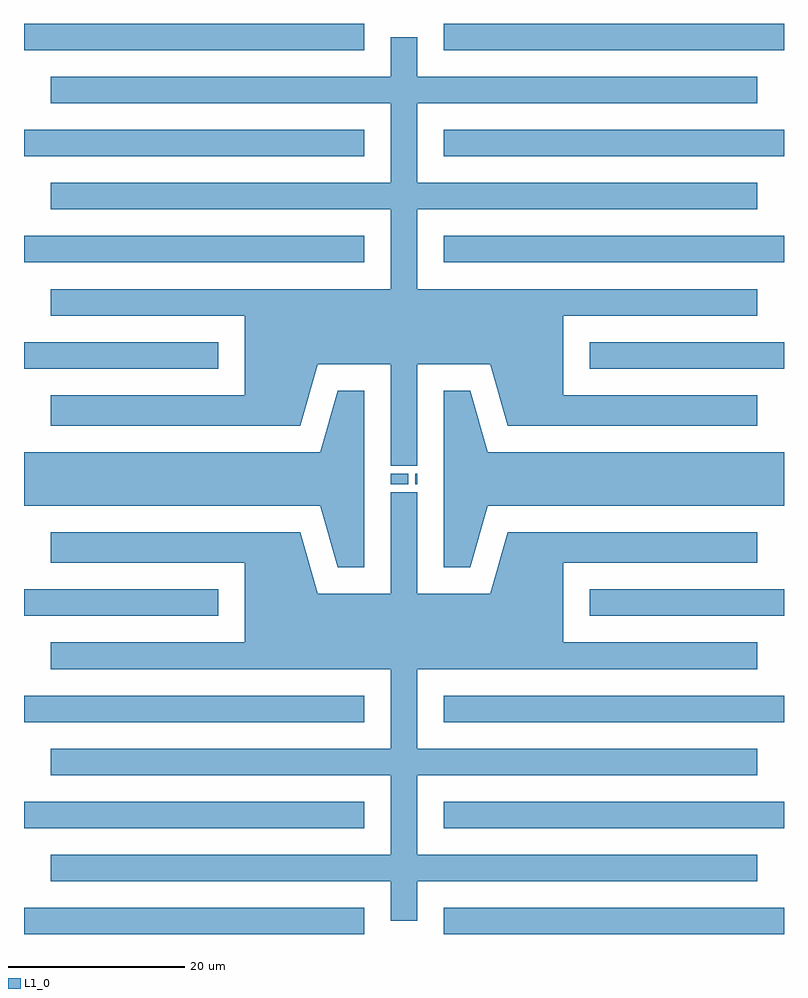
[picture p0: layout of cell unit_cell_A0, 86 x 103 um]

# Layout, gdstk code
from math import pi, radians
import gdstk
lib = gdstk.Library(unit=1e-6, precision=1e-09)
def R(c, l, rs):  # rectangles x0, y0, x1, y1
    for r in rs: c.add(gdstk.rectangle(r[:2], r[2:], *l))
def P(c, l, *ps):  # polygons
    for p in ps: c.add(gdstk.Polygon(p, *l))
L1_0 = (1, 0)

unnamed_361 = lib.new_cell('Unnamed_361')
P(unnamed_361, L1_0, [(38.5,0),(38.5,4.5),(0,4.5),(0,7.5),(38.5,7.5),(38.5,16.5),(0,16.5),(0,19.5),(38.5,19.5),(38.5,28.5),(0,28.5),(0,31.5),(22,31.5),(22,40.5),(0,40.5),(0,44),(28.237,44),(30.237,37),(38.5,37),(38.5,48.5),(40,48.5),(40,0)])

straight_l38p5_n2_csxs_e = lib.new_cell('straight_L38p5_N2_CSxs_e9659eb0')
R(straight_l38p5_n2_csxs_e, L1_0, [(0,-1.5,38.5,1.5)])

straight_array_n3_s9_l3_ = lib.new_cell('straight_array_N3_S9_L3_b91b2c6a')
straight_array_n3_s9_l3_.add(gdstk.Reference(straight_l38p5_n2_csxs_e, (0,0)))
straight_array_n3_s9_l3_.add(gdstk.Reference(straight_l38p5_n2_csxs_e, (0,12)))
straight_array_n3_s9_l3_.add(gdstk.Reference(straight_l38p5_n2_csxs_e, (0,24)))

straight_l22_n2_csxs_e96 = lib.new_cell('straight_L22_N2_CSxs_e9659eb0')
R(straight_l22_n2_csxs_e96, L1_0, [(0,-1.5,22,1.5)])

unnamed_358 = lib.new_cell('Unnamed_358')
unnamed_358.add(gdstk.Reference(straight_array_n3_s9_l3_, (-3,0)))
unnamed_358.add(gdstk.Reference(straight_l22_n2_csxs_e96, (-3,36)))

straight_l35p5_n2_csxs_4 = lib.new_cell('straight_L35p5_N2_CSxs_41e8578a')
R(straight_l35p5_n2_csxs_4, L1_0, [(0,-3,35.5,3)])

triangle_x10_x3_y5_y3_l1 = lib.new_cell('triangle_X10_X3_Y5_Y3_L1_0')
P(triangle_x10_x3_y5_y3_l1, L1_0, [(0,0),(0,5),(3,5),(10,3),(10,0)])

unnamed_359 = lib.new_cell('Unnamed_359')
unnamed_359.add(gdstk.Reference(straight_l35p5_n2_csxs_4, (-3,50)))
unnamed_359.add(gdstk.Reference(triangle_x10_x3_y5_y3_l1, (35.5,50), rotation=3*pi/2, x_reflection=True))

unnamed_362 = lib.new_cell('Unnamed_362')
unnamed_362.add(gdstk.Reference(unnamed_361, (0,0)))
unnamed_362.add(gdstk.Reference(unnamed_358, (0,0)))
unnamed_362.add(gdstk.Reference(unnamed_359, (0,0)))

rectangle_s2_0p6_lwg_cf_ = lib.new_cell('rectangle_S2_0p6_LWG_CF_a6a46f17')
R(rectangle_s2_0p6_lwg_cf_, L1_0, [(0,0,2,0.6)])

rectangle_s0p2_1p2_lwg__ = lib.new_cell('rectangle_S0p2_1p2_LWG__107b6a9b')
R(rectangle_s0p2_1p2_lwg__, L1_0, [(0,0,0.2,1.2)])

unnamed_363 = lib.new_cell('Unnamed_363')
unnamed_363.add(gdstk.Reference(rectangle_s2_0p6_lwg_cf_, (0,0)))
unnamed_363.add(gdstk.Reference(rectangle_s0p2_1p2_lwg__, (2.8,-0.6)))

unit_cell_a0 = lib.new_cell('unit_cell_A0')
unit_cell_a0.add(gdstk.Reference(unnamed_362, (0,0)))
unit_cell_a0.add(gdstk.Reference(unnamed_362, (80,0), rotation=pi, x_reflection=True))
unit_cell_a0.add(gdstk.Reference(unnamed_362, (0,100), x_reflection=True))
unit_cell_a0.add(gdstk.Reference(unnamed_362, (80,100), rotation=pi))
unit_cell_a0.add(gdstk.Reference(unnamed_363, (38.5,50)))
unit_cell_a0.add(gdstk.Reference(unnamed_363, (38.5,50), x_reflection=True))

lib.write_gds('unit_cell_A0.gds')
